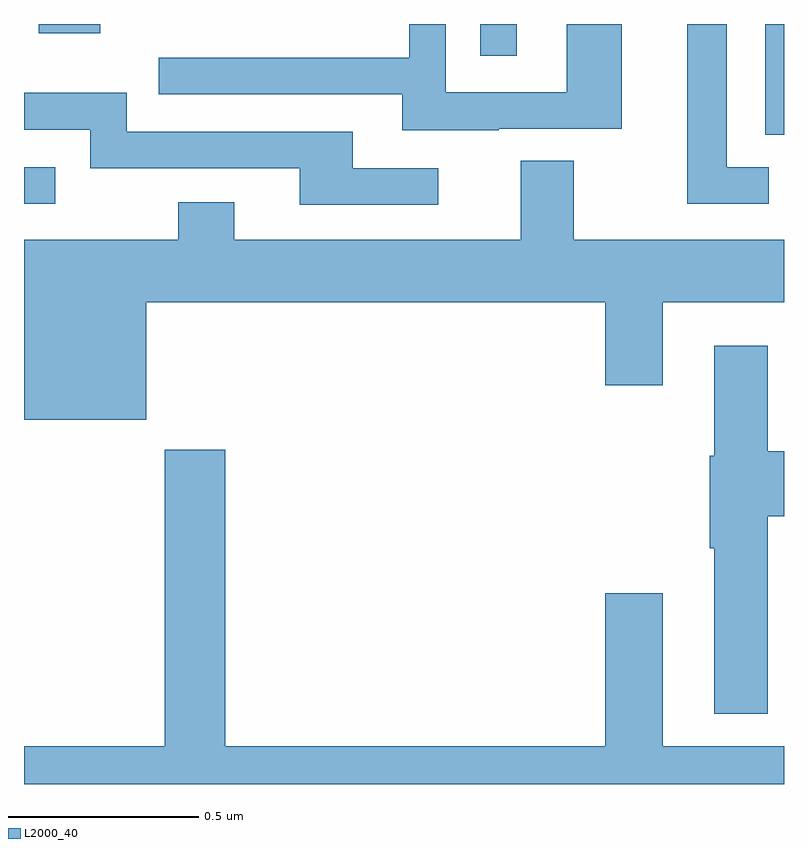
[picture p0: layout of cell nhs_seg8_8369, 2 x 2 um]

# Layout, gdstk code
import gdstk
lib = gdstk.Library(unit=1e-6, precision=1e-09)
def R(c, l, rs):  # rectangles x0, y0, x1, y1
    for r in rs: c.add(gdstk.rectangle(r[:2], r[2:], *l))
def P(c, l, *ps):  # polygons
    for p in ps: c.add(gdstk.Polygon(p, *l))
L2000_40 = (2000, 40)

nhs_seg8_8369 = lib.new_cell('nhs_seg8_8369')
R(nhs_seg8_8369, L2000_40, [(222,1115.427,222.082,1115.523), (223.95,1115.608,224,1115.9), (223.2,1115.817,223.297,1115.9), (222.039,1115.876,222.2,1115.9)])
P(nhs_seg8_8369, L2000_40, [(223.249,1115.625),(223.573,1115.625),(223.573,1115.9),(223.428,1115.9),(223.428,1115.721),(223.11,1115.721),(223.11,1115.9),(223.014,1115.9),(223.014,1115.811),(222.355,1115.811),(222.355,1115.715),(222.995,1115.715),(222.995,1115.621),(223.249,1115.621)],
  [(223.96,1115.523),(223.849,1115.523),(223.849,1115.9),(223.745,1115.9),(223.745,1115.427),(223.96,1115.427)],
  [(223.09,1115.52),(222.865,1115.52),(222.865,1115.616),(222.27,1115.616),(222.27,1115.719),(222,1115.719),(222,1115.622),(222.174,1115.622),(222.174,1115.52),(222.725,1115.52),(222.725,1115.424),(223.09,1115.424)],
  [(223.447,1115.54),(223.307,1115.54),(223.307,1115.332),(222.553,1115.332),(222.553,1115.431),(222.406,1115.431),(222.406,1115.332),(222,1115.332),(222,1114.859),(222.322,1114.859),(222.322,1115.168),(223.529,1115.168),(223.529,1114.95),(223.681,1114.95),(223.681,1115.168),(224,1115.168),(224,1115.332),(223.447,1115.332)],
  [(223.957,1114.604),(224,1114.604),(224,1114.776),(223.957,1114.776),(223.957,1115.053),(223.817,1115.053),(223.817,1114.764),(223.805,1114.764),(223.805,1114.52),(223.817,1114.52),(223.817,1114.085),(223.957,1114.085)],
  [(222.37,1114.78),(222.37,1114),(222,1114),(222,1113.9),(224,1113.9),(224,1114),(223.681,1114),(223.681,1114.402),(223.529,1114.402),(223.529,1114),(222.53,1114),(222.53,1114.78)])

lib.write_gds('nhs_seg8_8369.gds')
